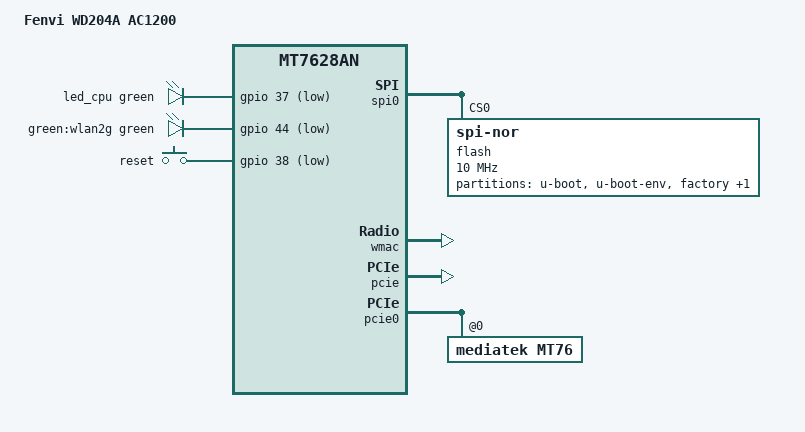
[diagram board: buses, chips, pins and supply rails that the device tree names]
// SPDX-License-Identifier: GPL-2.0-or-later OR MIT

#include "mt7628an.dtsi"

#include <dt-bindings/gpio/gpio.h>
#include <dt-bindings/input/input.h>
#include <dt-bindings/leds/common.h>

/ {
	compatible = "fenvi,wd204a", "mediatek,mt7628an-soc";
	model = "Fenvi WD204A AC1200";
	
	chosen {
		bootargs = "console=ttyS0,57600";
	};

        aliases {
		led-boot = &led_cpu;
		led-failsafe = &led_cpu;
		led-running = &led_cpu;
		led-upgrade = &led_cpu;
	};

	leds {
		compatible = "gpio-leds";

		led_cpu: cpu {
			function = LED_FUNCTION_CPU;
			color = <LED_COLOR_ID_GREEN>;
			gpios = <&gpio 37 GPIO_ACTIVE_LOW>;
		};

		wlan2g {
			label = "green:wlan2g";
			color = <LED_COLOR_ID_GREEN>;
			gpios = <&gpio 44 GPIO_ACTIVE_LOW>;
			linux,default-trigger = "phy0tpt";
		};
	};

	keys {
		compatible = "gpio-keys";

		reset {
			label = "reset";
			gpios = <&gpio 38 GPIO_ACTIVE_LOW>;
			linux,code = <KEY_RESTART>;
		};
	};
};

&spi0 {
	status = "okay";

	flash@0 {
		compatible = "jedec,spi-nor";
		reg = <0>;
		spi-max-frequency = <10000000>;

		partitions {
			compatible = "fixed-partitions";
			#address-cells = <1>;
			#size-cells = <1>;

			partition@0 {
				label = "u-boot";
				reg = <0x0 0x30000>;
				read-only;
			};

			partition@30000 {
				label = "u-boot-env";
				reg = <0x30000 0x10000>;
				read-only;
			};

			partition@40000 {
				label = "factory";
				reg = <0x40000 0x10000>;
				read-only;

				nvmem-layout {
					compatible = "fixed-layout";
					#address-cells = <1>;
					#size-cells = <1>;

					eeprom_factory_0: eeprom@0 {
						reg = <0x0 0x400>;
					};

					eeprom_factory_8000: eeprom@8000 {
						reg = <0x8000 0x200>;
					};

					macaddr_factory_4: macaddr@4 {
						reg = <0x4 0x6>;
					};
				};
			};

			partition@50000 {
				compatible = "denx,uimage";
				label = "firmware";
				reg = <0x50000 0x800000>;
			};
		};
	};
};

&state_default {
	gpio {
		groups = "gpio", "refclk", "wdt", "wled_an";
		function = "gpio";
	};
};

&ehci {
	status = "disabled";
};

&ohci {
	status = "disabled";
};

&ethernet {
	nvmem-cells = <&macaddr_factory_4>;
	nvmem-cell-names = "mac-address";
};

&wmac {
	status = "okay";

	nvmem-cells = <&eeprom_factory_0>;
	nvmem-cell-names = "eeprom";
};

&pcie {
	status = "okay";
};

&pcie0 {
	mt76@0,0 {
		compatible = "mediatek,mt76";
		reg = <0x0000 0 0 0 0>;
		nvmem-cells = <&eeprom_factory_8000>;
		nvmem-cell-names = "eeprom";
		ieee80211-freq-limit = <5000000 6000000>;
	};
};
